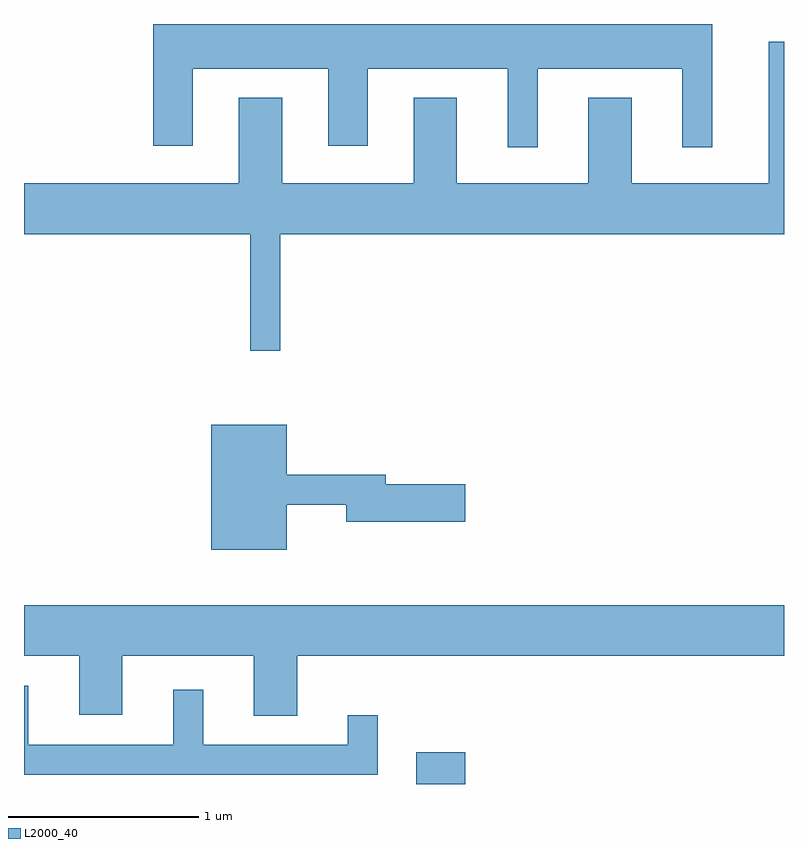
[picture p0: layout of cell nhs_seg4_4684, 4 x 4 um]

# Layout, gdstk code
import gdstk
lib = gdstk.Library(unit=1e-6, precision=1e-09)
def R(c, l, rs):  # rectangles x0, y0, x1, y1
    for r in rs: c.add(gdstk.rectangle(r[:2], r[2:], *l))
def P(c, l, *ps):  # polygons
    for p in ps: c.add(gdstk.Polygon(p, *l))
L2000_40 = (2000, 40)

nhs_seg4_4684 = lib.new_cell('nhs_seg4_4684')
R(nhs_seg4_4684, L2000_40, [(323.676,1373.982,323.934,1374.149)])
P(nhs_seg4_4684, L2000_40, [(324.314,1377.746),(325.076,1377.746),(325.076,1377.333),(325.234,1377.333),(325.234,1377.982),(322.291,1377.982),(322.291,1377.341),(322.499,1377.341),(322.499,1377.746),(323.211,1377.746),(323.211,1377.341),(323.419,1377.341),(323.419,1377.746),(324.156,1377.746),(324.156,1377.333),(324.314,1377.333)],
  [(322.959,1376.876),(325.611,1376.876),(325.611,1377.888),(325.531,1377.888),(325.531,1377.144),(324.809,1377.144),(324.809,1377.594),(324.581,1377.594),(324.581,1377.144),(323.889,1377.144),(323.889,1377.594),(323.661,1377.594),(323.661,1377.144),(322.969,1377.144),(322.969,1377.594),(322.741,1377.594),(322.741,1377.144),(321.611,1377.144),(321.611,1376.876),(322.801,1376.876),(322.801,1376.263),(322.959,1376.263)],
  [(322.994,1375.451),(323.306,1375.451),(323.306,1375.361),(323.934,1375.361),(323.934,1375.559),(323.514,1375.559),(323.514,1375.609),(322.994,1375.609),(322.994,1375.874),(322.596,1375.874),(322.596,1375.216),(322.994,1375.216)],
  [(323.049,1374.656),(325.611,1374.656),(325.611,1374.924),(321.611,1374.924),(321.611,1374.656),(321.901,1374.656),(321.901,1374.346),(322.129,1374.346),(322.129,1374.656),(322.821,1374.656),(322.821,1374.341),(323.049,1374.341)],
  [(323.474,1374.343),(323.316,1374.343),(323.316,1374.189),(322.554,1374.189),(322.554,1374.478),(322.396,1374.478),(322.396,1374.189),(321.634,1374.189),(321.634,1374.499),(321.611,1374.499),(321.611,1374.031),(323.474,1374.031)])

lib.write_gds('nhs_seg4_4684.gds')
